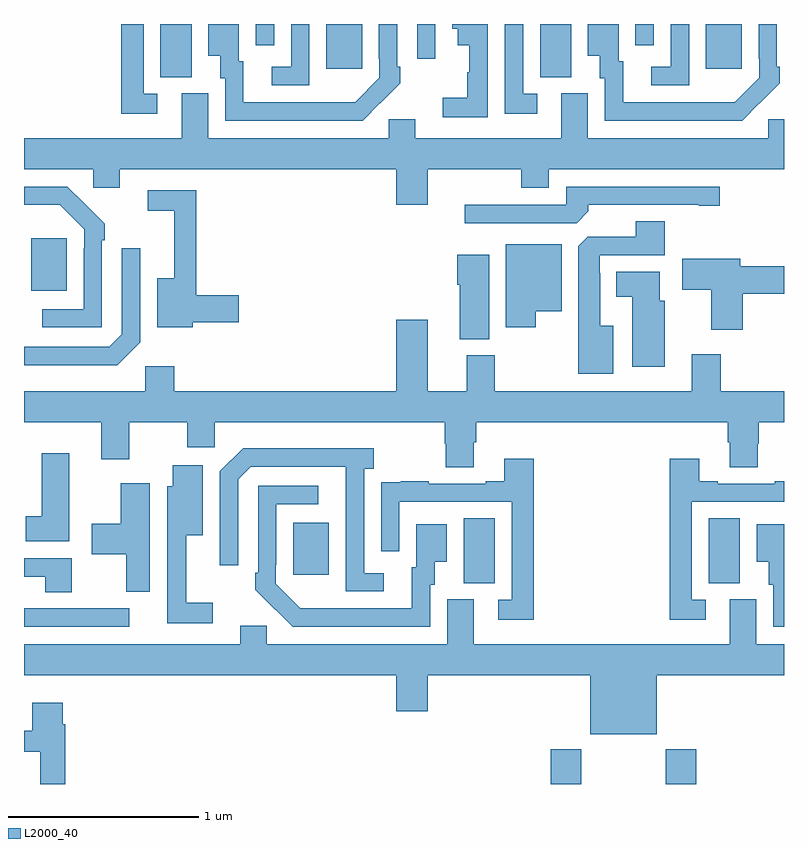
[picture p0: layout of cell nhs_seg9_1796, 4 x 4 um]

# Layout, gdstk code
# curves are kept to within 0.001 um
import gdstk
lib = gdstk.Library(unit=1e-6, precision=1e-09)
def R(c, l, rs):  # rectangles x0, y0, x1, y1
    for r in rs: c.add(gdstk.rectangle(r[:2], r[2:], *l))
def P(c, l, *ps):  # polygons
    for p in ps: c.add(gdstk.Polygon(p, *l))
L2000_40 = (2000, 40)

nhs_seg9_1796 = lib.new_cell('nhs_seg9_1796')
R(nhs_seg9_1796, L2000_40, [(213.773,1210.5,213.933,1210.684), (214.378,1210.5,214.538,1210.684), (211,1211.328,211.555,1211.424), (213.314,1211.557,213.478,1211.9), (214.604,1211.557,214.768,1211.9), (212.417,1211.601,212.605,1211.875), (211.037,1213.097,211.225,1213.372), (211.718,1214.221,211.882,1214.5), (213.716,1214.221,213.88,1214.5), (212.591,1214.265,212.779,1214.5), (214.589,1214.265,214.777,1214.5), (213.069,1214.316,213.165,1214.5), (212.22,1214.388,212.316,1214.5), (214.218,1214.388,214.314,1214.5)])
P(nhs_seg9_1796, L2000_40, [(214.5,1214.5),(214.404,1214.5),(214.404,1214.274),(214.302,1214.274),(214.302,1214.178),(214.5,1214.178)],
  [(212.502,1214.5),(212.406,1214.5),(212.406,1214.274),(212.304,1214.274),(212.304,1214.178),(212.502,1214.178)],
  [(213.441,1214.491),(213.442,1214.491),(213.442,1214.5),(213.254,1214.5),(213.254,1214.474),(213.284,1214.474),(213.284,1214.387),(213.344,1214.387),(213.344,1214.247),(213.333,1214.247),(213.333,1214.111),(213.204,1214.111),(213.204,1214.01),(213.441,1214.01)],
  [(212.873,1214.083),(212.874,1214.082),(212.979,1214.187),(212.979,1214.275),(212.964,1214.275),(212.964,1214.5),(212.868,1214.5),(212.868,1214.317),(212.871,1214.317),(212.871,1214.217),(212.743,1214.089),(212.639,1214.088),(212.155,1214.088),(212.155,1214.304),(212.131,1214.304),(212.131,1214.5),(211.97,1214.5),(211.97,1214.333),(212.033,1214.333),(212.033,1214.214),(212.058,1214.214),(212.058,1213.992),(212.782,1213.992)],
  [(213.7,1214.133),(213.627,1214.133),(213.627,1214.5),(213.531,1214.5),(213.531,1214.028),(213.7,1214.028)],
  [(214.871,1214.083),(214.872,1214.082),(214.977,1214.187),(214.977,1214.275),(214.962,1214.275),(214.962,1214.5),(214.866,1214.5),(214.866,1214.317),(214.869,1214.317),(214.869,1214.217),(214.741,1214.089),(214.637,1214.088),(214.153,1214.088),(214.153,1214.304),(214.129,1214.304),(214.129,1214.5),(213.968,1214.5),(213.968,1214.333),(214.031,1214.333),(214.031,1214.214),(214.056,1214.214),(214.056,1213.992),(214.78,1213.992)],
  [(211.702,1214.133),(211.629,1214.133),(211.629,1214.5),(211.513,1214.5),(211.513,1214.028),(211.702,1214.028)],
  [(213.124,1213.736),(213.616,1213.736),(213.616,1213.637),(213.763,1213.637),(213.763,1213.736),(215,1213.736),(215,1213.998),(214.917,1213.998),(214.917,1213.9),(213.967,1213.9),(213.967,1214.136),(213.827,1214.136),(213.827,1213.9),(213.058,1213.9),(213.058,1213.998),(212.919,1213.998),(212.919,1213.9),(211.969,1213.9),(211.969,1214.136),(211.829,1214.136),(211.829,1213.9),(211,1213.9),(211,1213.736),(211.365,1213.736),(211.365,1213.638),(211.504,1213.638),(211.504,1213.736),(212.96,1213.736),(212.96,1213.548),(213.124,1213.548)],
  [(213.971,1213.514),(213.971,1213.548),(214.55,1213.548),(214.55,1213.543),(214.663,1213.543),(214.663,1213.644),(213.855,1213.644),(213.855,1213.548),(213.321,1213.548),(213.321,1213.452),(213.909,1213.452)],
  [(211.41,1213.361),(211.425,1213.361),(211.425,1213.449),(211.228,1213.644),(211,1213.644),(211,1213.548),(211.189,1213.548),(211.317,1213.419),(211.317,1213.319),(211.314,1213.319),(211.314,1212.999),(211.095,1212.999),(211.095,1212.903),(211.41,1212.903)],
  [(211.888,1212.931),(212.131,1212.931),(212.131,1213.073),(211.907,1213.073),(211.907,1213.626),(211.65,1213.626),(211.65,1213.518),(211.79,1213.518),(211.79,1213.162),(211.7,1213.162),(211.7,1212.905),(211.888,1212.905)],
  [(214.102,1212.913),(214.033,1212.913),(214.033,1213.187),(214.029,1213.187),(214.029,1213.284),(214.373,1213.284),(214.373,1213.463),(214.22,1213.463),(214.22,1213.38),(213.966,1213.38),(213.917,1213.331),(213.917,1212.659),(214.102,1212.659)],
  [(213.694,1212.989),(213.829,1212.989),(213.829,1213.342),(213.536,1213.342),(213.536,1212.903),(213.694,1212.903)],
  [(211.611,1212.825),(211.611,1213.321),(211.515,1213.321),(211.515,1212.867),(211.449,1212.801),(211,1212.801),(211,1212.704),(211.49,1212.704)],
  [(213.448,1213.285),(213.281,1213.285),(213.281,1213.127),(213.293,1213.127),(213.293,1212.841),(213.448,1212.841)],
  [(214.784,1213.079),(215,1213.079),(215,1213.226),(214.771,1213.226),(214.771,1213.264),(214.464,1213.264),(214.464,1213.102),(214.616,1213.102),(214.616,1212.891),(214.784,1212.891)],
  [(214.372,1213.044),(214.345,1213.044),(214.345,1213.195),(214.118,1213.195),(214.118,1213.064),(214.202,1213.064),(214.202,1212.696),(214.372,1212.696)],
  [(213.367,1212.298),(213.38,1212.298),(213.38,1212.404),(214.703,1212.404),(214.703,1212.298),(214.715,1212.298),(214.715,1212.166),(214.863,1212.166),(214.863,1212.291),(214.868,1212.291),(214.868,1212.404),(215,1212.404),(215,1212.568),(214.667,1212.568),(214.667,1212.763),(214.514,1212.763),(214.514,1212.568),(213.477,1212.568),(213.477,1212.756),(213.329,1212.756),(213.329,1212.568),(213.124,1212.568),(213.124,1212.943),(212.96,1212.943),(212.96,1212.568),(211.79,1212.568),(211.79,1212.7),(211.638,1212.7),(211.638,1212.568),(211,1212.568),(211,1212.404),(211.406,1212.404),(211.406,1212.21),(211.554,1212.21),(211.554,1212.404),(211.858,1212.404),(211.858,1212.273),(212.004,1212.273),(212.004,1212.404),(213.215,1212.404),(213.215,1212.291),(213.22,1212.291),(213.22,1212.166),(213.367,1212.166)],
  [(212.893,1211.61),(212.79,1211.61),(212.79,1212.158),(212.842,1212.158),(212.842,1212.268),(212.154,1212.268),(212.031,1212.145),(212.031,1211.652),(212.127,1211.652),(212.127,1212.105),(212.193,1212.171),(212.693,1212.171),(212.694,1211.514),(212.893,1211.514)],
  [(211.237,1212.241),(211.094,1212.241),(211.094,1211.908),(211.01,1211.908),(211.01,1211.777),(211.237,1211.777)],
  [(213.683,1212.211),(213.527,1212.211),(213.527,1212.094),(213.431,1212.094),(213.431,1212.081),(213.131,1212.081),(213.131,1212.094),(212.983,1212.094),(212.983,1212.087),(212.881,1212.087),(212.881,1211.978),(212.88,1211.978),(212.88,1211.724),(212.976,1211.724),(212.976,1211.985),(213.567,1211.985),(213.567,1211.469),(213.495,1211.469),(213.495,1211.364),(213.683,1211.364)],
  [(214.588,1211.469),(214.515,1211.469),(214.515,1211.985),(215,1211.985),(215,1212.094),(214.951,1212.094),(214.951,1212.081),(214.651,1212.081),(214.651,1212.094),(214.555,1212.094),(214.555,1212.211),(214.399,1212.211),(214.399,1211.364),(214.588,1211.364)],
  [(211.993,1211.455),(211.853,1211.455),(211.853,1211.81),(211.942,1211.81),(211.942,1212.178),(211.784,1212.178),(211.784,1212.067),(211.755,1212.067),(211.755,1211.346),(211.993,1211.346)],
  [(211.663,1212.082),(211.508,1212.082),(211.508,1211.871),(211.356,1211.871),(211.356,1211.708),(211.538,1211.708),(211.538,1211.511),(211.663,1211.511)],
  [(213.138,1211.55),(213.163,1211.55),(213.163,1211.669),(213.226,1211.669),(213.226,1211.866),(213.065,1211.866),(213.065,1211.64),(213.041,1211.64),(213.041,1211.424),(212.454,1211.425),(212.325,1211.553),(212.325,1211.653),(212.328,1211.653),(212.328,1211.973),(212.548,1211.973),(212.548,1212.069),(212.232,1212.069),(212.232,1211.611),(212.217,1211.611),(212.217,1211.523),(212.414,1211.328),(213.138,1211.328)],
  [(215,1211.866),(214.856,1211.866),(214.856,1211.669),(214.919,1211.669),(214.919,1211.55),(214.944,1211.55),(214.944,1211.328),(215,1211.328)],
  [(211.252,1211.688),(211,1211.688),(211,1211.592),(211.112,1211.592),(211.112,1211.509),(211.252,1211.509)],
  [(214.33,1211.072),(215,1211.072),(215,1211.236),(214.855,1211.236),(214.855,1211.472),(214.715,1211.472),(214.715,1211.236),(213.367,1211.236),(213.367,1211.472),(213.227,1211.472),(213.227,1211.236),(212.277,1211.236),(212.277,1211.334),(212.138,1211.334),(212.138,1211.236),(211,1211.236),(211,1211.072),(212.96,1211.072),(212.96,1210.884),(213.124,1210.884),(213.124,1211.072),(213.98,1211.072),(213.98,1210.763),(214.33,1210.763)],
  [(211.217,1210.814),(211.204,1210.814),(211.204,1210.927),(211.043,1210.927),(211.043,1210.78),(211,1210.78),(211,1210.671),(211.085,1210.671),(211.085,1210.5),(211.217,1210.5)])

lib.write_gds('nhs_seg9_1796.gds')
